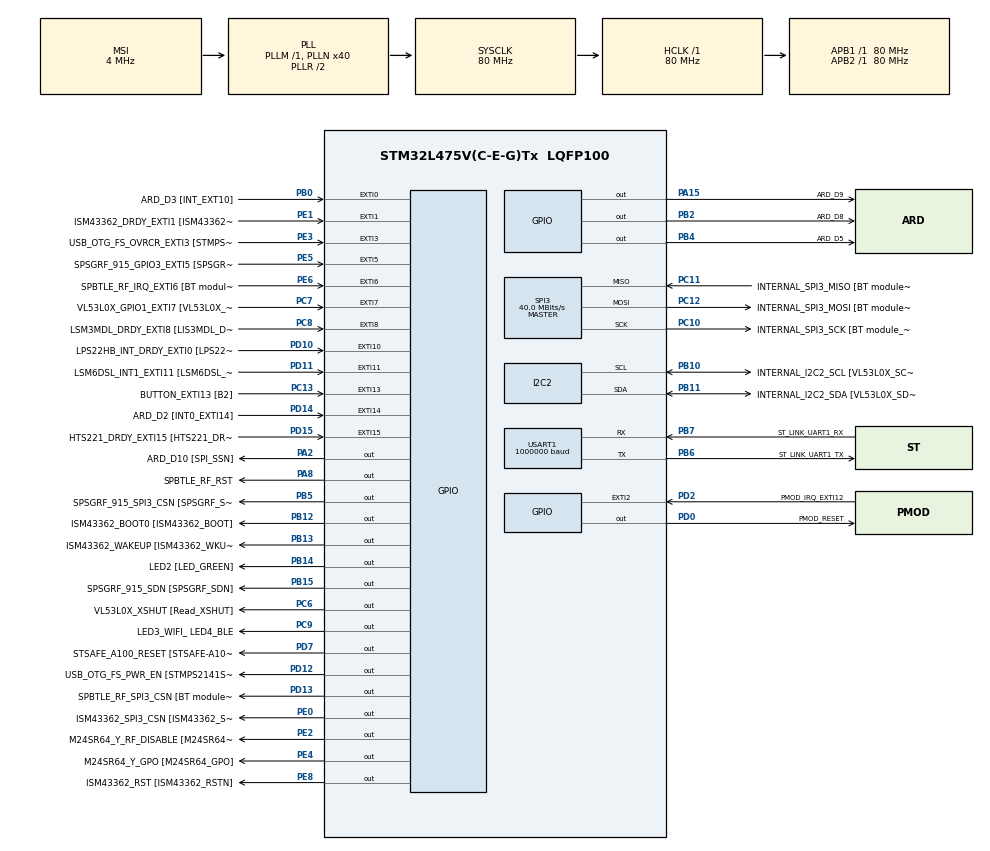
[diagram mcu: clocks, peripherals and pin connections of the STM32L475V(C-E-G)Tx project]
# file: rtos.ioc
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FREERTOS.Tasks01=sensorTask,40,512,StartSensorTask,Default,NULL,Dynamic,NULL,NULL;filterTask,32,512,StartFilterTask,Default,NULL,Dynamic,NULL,NULL;wifiTask,24,1024,StartWifiTask,Default,NULL,Dynamic,NULL,NULL
FREERTOS.Timers01=sampleTimer,SampleTimerCallback,osTimerPeriodic,Default,NULL,Dynamic,NULL
FREERTOS.configCHECK_FOR_STACK_OVERFLOW=2
FREERTOS.configTIMER_TASK_PRIORITY=48
FREERTOS.configTOTAL_HEAP_SIZE=32768
FREERTOS.configUSE_NEWLIB_REENTRANT=1
I2C2.Timing=0x10D19CE4
Mcu.Family=STM32L4
Mcu.Name=STM32L475V(C-E-G)Tx
Mcu.Package=LQFP100
NVIC.EXTI15_10_IRQn=true\:5\:0\:false\:false\:true\:true\:true\:true\:true
NVIC.EXTI9_5_IRQn=true\:5\:0\:false\:false\:true\:true\:true\:true\:true
NVIC.PriorityGroup=NVIC_PRIORITYGROUP_4
NVIC.TIM6_DAC_IRQn=true\:15\:0\:false\:false\:true\:false\:false\:true\:true
NVIC.TimeBase=TIM6_DAC_IRQn
NVIC.TimeBaseIP=TIM6
PA0.GPIO_Label=ARD_D1 [UART4_TX]
PA0.Signal=UART4_TX
PA1.GPIO_Label=ARD_D0 [UART4_RX]
PA1.Signal=UART4_RX
PA10.GPIO_Label=USB_OTG_FS_ID
PA10.Signal=USB_OTG_FS_ID
PA11.GPIO_Label=USB_OTG_FS_DM
PA11.Signal=USB_OTG_FS_DM
PA12.GPIO_Label=USB_OTG_FS_DP
PA12.Signal=USB_OTG_FS_DP
PA13\ (JTMS-SWDIO).GPIO_Label=SYS_JTMS_SWDIO
PA13\ (JTMS-SWDIO).Signal=SYS_JTMS-SWDIO
PA14\ (JTCK-SWCLK).GPIO_Label=SYS_JTCK_SWCLK
PA14\ (JTCK-SWCLK).Signal=SYS_JTCK-SWCLK
PA15\ (JTDI).GPIO_Label=ARD_D9
PA15\ (JTDI).Signal=GPIO_Output
PA2.GPIO_Label=ARD_D10 [SPI_SSN]
PA2.Signal=GPIO_Output
PA3.GPIO_Label=ARD_D4
PA3.Signal=S_TIM2_CH4
PA4.GPIO_Label=ARD_D7
PA4.Signal=ADCx_IN9
PA5.GPIO_Label=ARD_D13 [SPI1_SCK]
PA5.Signal=SPI1_SCK
PA6.GPIO_Label=ARD_D12 [SPI1_MISO]
PA6.Signal=SPI1_MISO
PA7.GPIO_Label=ARD_D11 [SPI1_MOSI]
PA7.Signal=SPI1_MOSI
PA8.GPIO_Label=SPBTLE_RF_RST
PA8.Signal=GPIO_Output
PA9.GPIO_Label=USB_OTG_FS_VBUS [STMPS2141STR_OUT]
PA9.Signal=USB_OTG_FS_VBUS
PB0.GPIO_Label=ARD_D3 [INT_EXT10]
PB0.Signal=GPXTI0
PB1.GPIO_Label=ARD_D6 [ADC1_IN6]
PB1.Signal=ADCx_IN16
PB10.GPIO_Label=INTERNAL_I2C2_SCL [VL53L0X_SCL]
PB10.Mode=I2C
PB10.Signal=I2C2_SCL
PB11.GPIO_Label=INTERNAL_I2C2_SDA [VL53L0X_SDA]
PB11.Mode=I2C
PB11.Signal=I2C2_SDA
PB12.GPIO_Label=ISM43362_BOOT0 [ISM43362_BOOT]
PB12.Signal=GPIO_Output
PB13.GPIO_Label=ISM43362_WAKEUP [ISM43362_WKUP]
PB13.Signal=GPIO_Output
PB14.GPIO_Label=LED2 [LED_GREEN]
PB14.Signal=GPIO_Output
PB15.GPIO_Label=SPSGRF_915_SDN [SPSGRF_SDN]
PB15.Signal=GPIO_Output
PB2.GPIO_Label=ARD_D8
PB2.Signal=GPIO_Output
PB3\ (JTDO-TRACESWO).GPIO_Label=SYS_JTD0_SWO
PB3\ (JTDO-TRACESWO).Signal=SYS_JTDO-SWO
PB4\ (NJTRST).GPIO_Label=ARD_D5
PB4\ (NJTRST).Signal=GPIO_Output
PB5.GPIO_Label=SPSGRF_915_SPI3_CSN [SPSGRF_SPI_CS]
PB5.PinState=GPIO_PIN_SET
PB5.Signal=GPIO_Output
PB6.GPIO_Label=ST_LINK_UART1_TX
PB6.Mode=Asynchronous
PB6.Signal=USART1_TX
PB7.GPIO_Label=ST_LINK_UART1_RX
PB7.Mode=Asynchronous
PB7.Signal=USART1_RX
PB8.GPIO_Label=ARD_D15 [I2C1_SCL]
PB8.Signal=I2C1_SCL
PB9.GPIO_Label=ARD_D14 [I2C1_SDA]
PB9.Signal=I2C1_SDA
PC0.GPIO_Label=ARD_A5 [ADC]
PC0.Signal=ADCx_IN1
PC1.GPIO_Label=ARD_A4 [ADC]
PC1.Signal=ADCx_IN2
PC10.GPIO_Label=INTERNAL_SPI3_SCK [BT module_SPI_SCLK] [ISM43362_SCK]
PC10.Mode=Full_Duplex_Master
PC10.Signal=SPI3_SCK
PC11.GPIO_Label=INTERNAL_SPI3_MISO [BT module_SPI_MISO] [ISM43362_MISO]
PC11.Mode=Full_Duplex_Master
PC11.Signal=SPI3_MISO
PC12.GPIO_Label=INTERNAL_SPI3_MOSI [BT module_SPI_MOSI] [ISM43362_MOSI]
PC12.Mode=Full_Duplex_Master
PC12.Signal=SPI3_MOSI
PC13.GPIO_Label=BUTTON_EXTI13 [B2]
PC13.GPIO_ModeDefaultEXTI=GPIO_MODE_IT_FALLING
PC13.Signal=GPXTI13
PC14-OSC32_IN\ (PC14).Signal=RCC_OSC32_IN
PC15-OSC32_OUT\ (PC15).Signal=RCC_OSC32_OUT
PC2.GPIO_Label=ARD_A3 [ADC]
PC2.Signal=ADCx_IN3
PC3.GPIO_Label=ARD_A2 [ADC]
PC3.Signal=ADCx_IN4
PC4.GPIO_Label=ARD_A1 [ADC]
PC4.Signal=ADCx_IN13
PC5.GPIO_Label=ARD_A0 [ADC]
PC5.Signal=ADCx_IN14
PC6.GPIO_Label=VL53L0X_XSHUT [Read_XSHUT]
PC6.Signal=GPIO_Output
PC7.GPIO_Label=VL53L0X_GPIO1_EXTI7 [VL53L0X_GPIO1]
PC7.Signal=GPXTI7
PC8.GPIO_Label=LSM3MDL_DRDY_EXTI8 [LIS3MDL_DRDY]
PC8.Signal=GPXTI8
PC9.GPIO_Label=LED3_WIFI_ LED4_BLE
PC9.Signal=GPIO_Output
PD0.GPIO_Label=PMOD_RESET
PD0.Signal=GPIO_Output
PD1.GPIO_Label=PMOD_SPI2_SCK
PD1.Signal=SPI2_SCK
PD10.GPIO_Label=LPS22HB_INT_DRDY_EXTI0 [LPS22HB_INT_DRDY] 
PD10.Signal=GPXTI10
PD11.GPIO_Label=LSM6DSL_INT1_EXTI11 [LSM6DSL_INT1]
PD11.Signal=GPXTI11
PD12.GPIO_Label=USB_OTG_FS_PWR_EN [STMPS2141STR_EN]
PD12.Signal=GPIO_Output
PD13.GPIO_Label=SPBTLE_RF_SPI3_CSN [BT module_SPI_CS]
PD13.PinState=GPIO_PIN_SET
PD13.Signal=GPIO_Output
PD14.GPIO_Label=ARD_D2 [INT0_EXTI14]
PD14.Signal=GPXTI14
PD15.GPIO_Label=HTS221_DRDY_EXTI15 [HTS221_DRDY]
PD15.Signal=GPXTI15
PD2.GPIO_Label=PMOD_IRQ_EXTI12
PD2.Signal=GPXTI2
PD3.GPIO_Label=PMOD_UART2_CTS
PD3.Signal=USART2_CTS
PD4.GPIO_Label=PMOD_UART2_RTS
PD4.Signal=USART2_RTS
PD5.GPIO_Label=PMOD_UART2_TX
PD5.Signal=USART2_TX
PD6.GPIO_Label=PMOD_UART2_RX
PD6.Signal=USART2_RX
PD7.GPIO_Label=STSAFE_A100_RESET [STSAFE-A100_RESET]
PD7.Signal=GPIO_Output
PD8.GPIO_Label=INTERNAL_UART3_TX [ISM43362_RX]
PD8.Signal=USART3_TX
PD9.GPIO_Label=INTERNAL_UART3_RX [ISM43362_TX]
PD9.Signal=USART3_RX
PE0.GPIO_Label=ISM43362_SPI3_CSN [ISM43362_SSN]
PE0.PinState=GPIO_PIN_SET
PE0.Signal=GPIO_Output
PE1.GPIO_Label=ISM43362_DRDY_EXTI1 [ISM43362_DATARDY]
PE1.Signal=GPXTI1
PE10.GPIO_Label=QUADSPI_CLK [MX25R6435F_SCLK]
PE10.Signal=QUADSPI_CLK
PE11.GPIO_Label=QUADSPI_NCS [MX25R6435F_SCLK]
PE11.Signal=QUADSPI_NCS
PE12.GPIO_Label=OQUADSPI_BK1_IO0 [MX25R6435F_IO0]
PE12.Signal=QUADSPI_BK1_IO0
PE13.GPIO_Label=QUADSPI_BK1_IO1 [MX25R6435F_IO1]
PE13.Signal=QUADSPI_BK1_IO1
PE14.GPIO_Label=QUAD_SPI_BK1_IO2 [MX25R6435F_IO2]
PE14.Signal=QUADSPI_BK1_IO2
PE15.GPIO_Label=QUAD_SPI_BK1_IO3 [MX25R6435F_IO3]
PE15.Signal=QUADSPI_BK1_IO3
PE2.GPIO_Label=M24SR64_Y_RF_DISABLE [M24SR64_RFDIS]
PE2.Signal=GPIO_Output
PE3.GPIO_Label=USB_OTG_FS_OVRCR_EXTI3 [STMPS2141STR_FAULT]
PE3.Signal=GPXTI3
PE4.GPIO_Label=M24SR64_Y_GPO [M24SR64_GPO]
PE4.Signal=GPIO_Output
PE5.GPIO_Label=SPSGRF_915_GPIO3_EXTI5 [SPSGRF_GPIO_3]
PE5.Signal=GPXTI5
PE6.GPIO_Label=SPBTLE_RF_IRQ_EXTI6 [BT module_SPI_IRQ]
PE6.Signal=GPXTI6
PE7.GPIO_Label=DFSDM1_DATIN2 [MP34DT01_DOUT]
PE7.Signal=S_DATAIN2DFSDM1
PE8.GPIO_Label=ISM43362_RST [ISM43362_RSTN]
PE8.Signal=GPIO_Output
PE9.GPIO_Label=DFSDM1_CKOUT [MP34DT01_CLK]
PE9.Signal=S_CKOUTDFSDM1
ProjectManager.HeapSize=0x200
ProjectManager.StackSize=0x400
ProjectManager.TargetToolchain=CMake
RCC.ADCFreq_Value=48000000
RCC.AHBFreq_Value=80000000
RCC.APB1Freq_Value=80000000
RCC.APB1TimFreq_Value=80000000
RCC.APB2Freq_Value=80000000
RCC.APB2TimFreq_Value=80000000
RCC.CortexFreq_Value=80000000
RCC.HCLKFreq_Value=80000000
RCC.HSE_VALUE=8000000
RCC.HSI_VALUE=16000000
RCC.LSE_VALUE=32768
RCC.MSI_VALUE=4000000
RCC.PLLN=40
RCC.PLLSAI1N=24
RCC.SYSCLKFreq_VALUE=80000000
RCC.SYSCLKSource=RCC_SYSCLKSOURCE_PLLCLK
RCC.USBFreq_Value=48000000
RCC.VCOOutputFreq_Value=160000000
SH.ADCx_IN1.0=ADC1_IN1
SH.ADCx_IN13.0=ADC1_IN13
SH.ADCx_IN14.0=ADC1_IN14
SH.ADCx_IN16.0=ADC1_IN16
SH.ADCx_IN2.0=ADC1_IN2
SH.ADCx_IN3.0=ADC1_IN3
SH.ADCx_IN4.0=ADC1_IN4
SH.ADCx_IN9.0=ADC1_IN9
SH.S_CKOUTDFSDM1.0=DFSDM1_CKOUT
SH.S_DATAIN2DFSDM1.0=DFSDM1_DATIN2
SH.S_TIM2_CH4.0=TIM2_CH4
SPI3.CalculateBaudRate=40.0 MBits/s
SPI3.Direction=SPI_DIRECTION_2LINES
SPI3.Mode=SPI_MODE_MASTER
SPI3.VirtualType=VM_MASTER
USART1.BaudRate=1000000
USART1.VirtualMode-Asynchronous=VM_ASYNC
VP_FREERTOS_VS_CMSIS_V2.Mode=CMSIS_V2
VP_SYS_VS_tim6.Mode=TIM6
board=B-L475E-IOT01A1

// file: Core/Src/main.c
/* USER CODE BEGIN Header */
/**
  ******************************************************************************
  * @file           : main.c
  * @brief          : Main program body
  ******************************************************************************
  * @attention
  *
  * Copyright (c) 2026 STMicroelectronics.
  * All rights reserved.
  *
  * This software is licensed under terms that can be found in the LICENSE file
  * in the root directory of this software component.
  * If no LICENSE file comes with this software, it is provided AS-IS.
  *
  ******************************************************************************
  */
/* USER CODE END Header */
#include "main.h"
#include "cmsis_os.h"

/* USER CODE BEGIN Includes */
#include "arm_math.h"
#include "stdio.h"
// #include "math_helper.h"
#include "stm32l475e_iot01_accelero.h"
#include "wifi.h"
#include <string.h>
/* USER CODE END Includes */

/* USER CODE BEGIN PD */
#define SSID     "xxx"
#define PASSWORD "xxx"

/* USER CODE END PD */

I2C_HandleTypeDef hi2c2;

SPI_HandleTypeDef hspi3;

UART_HandleTypeDef huart1;

/* Definitions for sensorTask */
osThreadId_t sensorTaskHandle;
const osThreadAttr_t sensorTask_attributes = {
  .name = "sensorTask",
  .stack_size = 512 * 4,
  .priority = (osPriority_t) osPriorityHigh,
};
/* Definitions for filterTask */
osThreadId_t filterTaskHandle;
const osThreadAttr_t filterTask_attributes = {
  .name = "filterTask",
  .stack_size = 512 * 4,
  .priority = (osPriority_t) osPriorityAboveNormal,
};
/* Definitions for wifiTask */
osThreadId_t wifiTaskHandle;
const osThreadAttr_t wifiTask_attributes = {
  .name = "wifiTask",
  .stack_size = 1024 * 4,
  .priority = (osPriority_t) osPriorityNormal,
};
/* Definitions for sampleTimer */
osTimerId_t sampleTimerHandle;
const osTimerAttr_t sampleTimer_attributes = {
  .name = "sampleTimer"
};
/* USER CODE BEGIN PV */
#define ACC_NUM_TAPS 29
const float32_t accCoeffs[ACC_NUM_TAPS] = {
  +0.0010663996f, +0.0021260857f, +0.0031593379f, +0.0030598462f, -0.0000000000f, -0.0070586601f, -0.0165185932f, -0.0232938560f,
  -0.0199795184f, +0.0000000000f, +0.0385745876f, +0.0905512328f, +0.1441009645f, +0.1844676144f, +0.1994891178f, +0.1844676144f,
  +0.1441009645f, +0.0905512328f, +0.0385745876f, +0.0000000000f, -0.0199795184f, -0.0232938560f, -0.0165185932f, -0.0070586601f,
  -0.0000000000f, +0.0030598462f, +0.0031593379f, +0.0021260857f, +0.0010663996f
};

#define ACC_BLOCK_SIZE 25
// a struct: start index n0, float32_t raw[25] and float32_t filt[25].
typedef struct {
  uint32_t n0;
  float32_t raw[ACC_BLOCK_SIZE];
  float32_t filt[ACC_BLOCK_SIZE];
} AccDataBlock;

// an arm_fir_instance_f32
arm_fir_instance_f32 accFilter;
static float32_t accState[ACC_BLOCK_SIZE + ACC_NUM_TAPS - 1];
static float32_t accIn[ACC_BLOCK_SIZE];
static float32_t accOut[ACC_BLOCK_SIZE];

volatile uint32_t sensorTickcounter = 0;
static uint32_t sampleCount = 0;
static uint32_t droppedSamples = 0;
static uint32_t droppedBlocks = 0;
static uint32_t k = 0;
static uint32_t n = 0;
static uint32_t sendError = 0;

osMessageQueueId_t rawZQueueHandle;
osMessageQueueId_t accDataQueueHandle;

static const uint8_t RemoteIP[] = {192,168,0,0};
static char buffer[1280];
/* USER CODE END PV */

void SystemClock_Config(void);
static void MX_GPIO_Init(void);
static void MX_I2C2_Init(void);
static void MX_USART1_UART_Init(void);
static void MX_SPI3_Init(void);
void StartSensorTask(void *argument);
void StartFilterTask(void *argument);
void StartWifiTask(void *argument);
void SampleTimerCallback(void *argument);

/* USER CODE BEGIN 0 */
int __io_putchar(int ch)
{
  HAL_UART_Transmit(&huart1, (uint8_t *)&ch, 1, HAL_MAX_DELAY);
  return ch;
}
/* USER CODE END 0 */

int main(void)
{

  /* MCU Configuration--------------------------------------------------------*/

  /* Reset of all peripherals, Initializes the Flash interface and the Systick. */
  HAL_Init();

  /* Configure the system clock */
  SystemClock_Config();

  /* Initialize all configured peripherals */
  MX_GPIO_Init();
  MX_I2C2_Init();
  MX_USART1_UART_Init();
  MX_SPI3_Init();
  /* USER CODE BEGIN 2 */
  BSP_ACCELERO_Init();
  arm_fir_init_f32(&accFilter, ACC_NUM_TAPS, (float32_t *)&accCoeffs[0], &accState[0], ACC_BLOCK_SIZE);
  /* USER CODE END 2 */

  /* Init scheduler */
  osKernelInitialize();

  /* Create the timer(s) */
  /* creation of sampleTimer */
  sampleTimerHandle = osTimerNew(SampleTimerCallback, osTimerPeriodic, NULL, &sampleTimer_attributes);

  /* USER CODE BEGIN RTOS_TIMERS */
  /* start timers, add new ones, ... */
  // period = 20ms, frequency = 50Hz

  /* USER CODE END RTOS_TIMERS */

  /* USER CODE BEGIN RTOS_QUEUES */
  /* add queues, ... */
  // 32 item, each item is one float32_t for raw z value
  rawZQueueHandle = osMessageQueueNew(32, sizeof(float32_t), NULL);
  // queue b, 4 item, each item is AccDataBlock
  accDataQueueHandle = osMessageQueueNew(4, sizeof(AccDataBlock), NULL);
  /* USER CODE END RTOS_QUEUES */

  /* Create the thread(s) */
  /* creation of sensorTask */
  sensorTaskHandle = osThreadNew(StartSensorTask, NULL, &sensorTask_attributes);

  /* creation of filterTask */
  filterTaskHandle = osThreadNew(StartFilterTask, NULL, &filterTask_attributes);

  /* creation of wifiTask */
  wifiTaskHandle = osThreadNew(StartWifiTask, NULL, &wifiTask_attributes);

  /* Start scheduler */
  osKernelStart();

  /* We should never get here as control is now taken by the scheduler */

  /* Infinite loop */
  while (1)
  {

  }
}

void SystemClock_Config(void)
{
  RCC_OscInitTypeDef RCC_OscInitStruct = {0};
  RCC_ClkInitTypeDef RCC_ClkInitStruct = {0};

  /** Configure the main internal regulator output voltage
  */
  if (HAL_PWREx_ControlVoltageScaling(PWR_REGULATOR_VOLTAGE_SCALE1) != HAL_OK)
  {
    Error_Handler();
  }

  /** Initializes the RCC Oscillators according to the specified parameters
  * in the RCC_OscInitTypeDef structure.
  */
  RCC_OscInitStruct.OscillatorType = RCC_OSCILLATORTYPE_MSI;
  RCC_OscInitStruct.MSIState = RCC_MSI_ON;
  RCC_OscInitStruct.MSICalibrationValue = 0;
  RCC_OscInitStruct.MSIClockRange = RCC_MSIRANGE_6;
  RCC_OscInitStruct.PLL.PLLState = RCC_PLL_ON;
  RCC_OscInitStruct.PLL.PLLSource = RCC_PLLSOURCE_MSI;
  RCC_OscInitStruct.PLL.PLLM = 1;
  RCC_OscInitStruct.PLL.PLLN = 40;
  RCC_OscInitStruct.PLL.PLLP = RCC_PLLP_DIV7;
  RCC_OscInitStruct.PLL.PLLQ = RCC_PLLQ_DIV2;
  RCC_OscInitStruct.PLL.PLLR = RCC_PLLR_DIV2;
  if (HAL_RCC_OscConfig(&RCC_OscInitStruct) != HAL_OK)
  {
    Error_Handler();
  }

  /** Initializes the CPU, AHB and APB buses clocks
  */
  RCC_ClkInitStruct.ClockType = RCC_CLOCKTYPE_HCLK|RCC_CLOCKTYPE_SYSCLK
                              |RCC_CLOCKTYPE_PCLK1|RCC_CLOCKTYPE_PCLK2;
  RCC_ClkInitStruct.SYSCLKSource = RCC_SYSCLKSOURCE_PLLCLK;
  RCC_ClkInitStruct.AHBCLKDivider = RCC_SYSCLK_DIV1;
  RCC_ClkInitStruct.APB1CLKDivider = RCC_HCLK_DIV1;
  RCC_ClkInitStruct.APB2CLKDivider = RCC_HCLK_DIV1;

  if (HAL_RCC_ClockConfig(&RCC_ClkInitStruct, FLASH_LATENCY_4) != HAL_OK)
  {
    Error_Handler();
  }
}

static void MX_I2C2_Init(void)
{

  hi2c2.Instance = I2C2;
  hi2c2.Init.Timing = 0x10D19CE4;
  hi2c2.Init.OwnAddress1 = 0;
  hi2c2.Init.AddressingMode = I2C_ADDRESSINGMODE_7BIT;
  hi2c2.Init.DualAddressMode = I2C_DUALADDRESS_DISABLE;
  hi2c2.Init.OwnAddress2 = 0;
  hi2c2.Init.OwnAddress2Masks = I2C_OA2_NOMASK;
  hi2c2.Init.GeneralCallMode = I2C_GENERALCALL_DISABLE;
  hi2c2.Init.NoStretchMode = I2C_NOSTRETCH_DISABLE;
  if (HAL_I2C_Init(&hi2c2) != HAL_OK)
  {
    Error_Handler();
  }

  /** Configure Analogue filter
  */
  if (HAL_I2CEx_ConfigAnalogFilter(&hi2c2, I2C_ANALOGFILTER_ENABLE) != HAL_OK)
  {
    Error_Handler();
  }

  /** Configure Digital filter
  */
  if (HAL_I2CEx_ConfigDigitalFilter(&hi2c2, 0) != HAL_OK)
  {
    Error_Handler();
  }

}

static void MX_SPI3_Init(void)
{

  /* SPI3 parameter configuration*/
  hspi3.Instance = SPI3;
  hspi3.Init.Mode = SPI_MODE_MASTER;
  hspi3.Init.Direction = SPI_DIRECTION_2LINES;
  hspi3.Init.DataSize = SPI_DATASIZE_4BIT;
  hspi3.Init.CLKPolarity = SPI_POLARITY_LOW;
  hspi3.Init.CLKPhase = SPI_PHASE_1EDGE;
  hspi3.Init.NSS = SPI_NSS_SOFT;
  hspi3.Init.BaudRatePrescaler = SPI_BAUDRATEPRESCALER_2;
  hspi3.Init.FirstBit = SPI_FIRSTBIT_MSB;
  hspi3.Init.TIMode = SPI_TIMODE_DISABLE;
  hspi3.Init.CRCCalculation = SPI_CRCCALCULATION_DISABLE;
  hspi3.Init.CRCPolynomial = 7;
  hspi3.Init.CRCLength = SPI_CRC_LENGTH_DATASIZE;
  hspi3.Init.NSSPMode = SPI_NSS_PULSE_ENABLE;
  if (HAL_SPI_Init(&hspi3) != HAL_OK)
  {
    Error_Handler();
  }

}

static void MX_USART1_UART_Init(void)
{

  huart1.Instance = USART1;
  huart1.Init.BaudRate = 1000000;
  huart1.Init.WordLength = UART_WORDLENGTH_8B;
  huart1.Init.StopBits = UART_STOPBITS_1;
  huart1.Init.Parity = UART_PARITY_NONE;
  huart1.Init.Mode = UART_MODE_TX_RX;
  huart1.Init.HwFlowCtl = UART_HWCONTROL_NONE;
  huart1.Init.OverSampling = UART_OVERSAMPLING_16;
  huart1.Init.OneBitSampling = UART_ONE_BIT_SAMPLE_DISABLE;
  huart1.AdvancedInit.AdvFeatureInit = UART_ADVFEATURE_NO_INIT;
  if (HAL_UART_Init(&huart1) != HAL_OK)
  {
    Error_Handler();
  }

}

static void MX_GPIO_Init(void)
{
  GPIO_InitTypeDef GPIO_InitStruct = {0};

  /* GPIO Ports Clock Enable */
  __HAL_RCC_GPIOE_CLK_ENABLE();
  __HAL_RCC_GPIOC_CLK_ENABLE();
  __HAL_RCC_GPIOA_CLK_ENABLE();
  __HAL_RCC_GPIOB_CLK_ENABLE();
  __HAL_RCC_GPIOD_CLK_ENABLE();

  /*Configure GPIO pin Output Level */
  HAL_GPIO_WritePin(GPIOE, M24SR64_Y_RF_DISABLE_Pin|M24SR64_Y_GPO_Pin|ISM43362_RST_Pin, GPIO_PIN_RESET);

  /*Configure GPIO pin Output Level */
  HAL_GPIO_WritePin(GPIOA, ARD_D10_Pin|SPBTLE_RF_RST_Pin|ARD_D9_Pin, GPIO_PIN_RESET);

  /*Configure GPIO pin Output Level */
  HAL_GPIO_WritePin(GPIOB, ARD_D8_Pin|ISM43362_BOOT0_Pin|ISM43362_WAKEUP_Pin|LED2_Pin
                          |SPSGRF_915_SDN_Pin|ARD_D5_Pin, GPIO_PIN_RESET);

  /*Configure GPIO pin Output Level */
  HAL_GPIO_WritePin(GPIOD, USB_OTG_FS_PWR_EN_Pin|PMOD_RESET_Pin|STSAFE_A100_RESET_Pin, GPIO_PIN_RESET);

  /*Configure GPIO pin Output Level */
  HAL_GPIO_WritePin(SPBTLE_RF_SPI3_CSN_GPIO_Port, SPBTLE_RF_SPI3_CSN_Pin, GPIO_PIN_SET);

  /*Configure GPIO pin Output Level */
  HAL_GPIO_WritePin(GPIOC, VL53L0X_XSHUT_Pin|LED3_WIFI__LED4_BLE_Pin, GPIO_PIN_RESET);

  /*Configure GPIO pin Output Level */
  HAL_GPIO_WritePin(SPSGRF_915_SPI3_CSN_GPIO_Port, SPSGRF_915_SPI3_CSN_Pin, GPIO_PIN_SET);

  /*Configure GPIO pin Output Level */
  HAL_GPIO_WritePin(ISM43362_SPI3_CSN_GPIO_Port, ISM43362_SPI3_CSN_Pin, GPIO_PIN_SET);

  /*Configure GPIO pins : M24SR64_Y_RF_DISABLE_Pin M24SR64_Y_GPO_Pin ISM43362_RST_Pin ISM43362_SPI3_CSN_Pin */
  GPIO_InitStruct.Pin = M24SR64_Y_RF_DISABLE_Pin|M24SR64_Y_GPO_Pin|ISM43362_RST_Pin|ISM43362_SPI3_CSN_Pin;
  GPIO_InitStruct.Mode = GPIO_MODE_OUTPUT_PP;
  GPIO_InitStruct.Pull = GPIO_NOPULL;
  GPIO_InitStruct.Speed = GPIO_SPEED_FREQ_LOW;
  HAL_GPIO_Init(GPIOE, &GPIO_InitStruct);

  /*Configure GPIO pins : USB_OTG_FS_OVRCR_EXTI3_Pin SPSGRF_915_GPIO3_EXTI5_Pin SPBTLE_RF_IRQ_EXTI6_Pin ISM43362_DRDY_EXTI1_Pin */
  GPIO_InitStruct.Pin = USB_OTG_FS_OVRCR_EXTI3_Pin|SPSGRF_915_GPIO3_EXTI5_Pin|SPBTLE_RF_IRQ_EXTI6_Pin|ISM43362_DRDY_EXTI1_Pin;
  GPIO_InitStruct.Mode = GPIO_MODE_IT_RISING;
  GPIO_InitStruct.Pull = GPIO_NOPULL;
  HAL_GPIO_Init(GPIOE, &GPIO_InitStruct);

  /*Configure GPIO pin : BUTTON_EXTI13_Pin */
  GPIO_InitStruct.Pin = BUTTON_EXTI13_Pin;
  GPIO_InitStruct.Mode = GPIO_MODE_IT_FALLING;
  GPIO_InitStruct.Pull = GPIO_NOPULL;
  HAL_GPIO_Init(BUTTON_EXTI13_GPIO_Port, &GPIO_InitStruct);

  /*Configure GPIO pins : ARD_A5_Pin ARD_A4_Pin ARD_A3_Pin ARD_A2_Pin
                           ARD_A1_Pin ARD_A0_Pin */
  GPIO_InitStruct.Pin = ARD_A5_Pin|ARD_A4_Pin|ARD_A3_Pin|ARD_A2_Pin
                          |ARD_A1_Pin|ARD_A0_Pin;
  GPIO_InitStruct.Mode = GPIO_MODE_ANALOG_ADC_CONTROL;
  GPIO_InitStruct.Pull = GPIO_NOPULL;
  HAL_GPIO_Init(GPIOC, &GPIO_InitStruct);

  /*Configure GPIO pins : ARD_D1_Pin ARD_D0_Pin */
  GPIO_InitStruct.Pin = ARD_D1_Pin|ARD_D0_Pin;
  GPIO_InitStruct.Mode = GPIO_MODE_AF_PP;
  GPIO_InitStruct.Pull = GPIO_NOPULL;
  GPIO_InitStruct.Speed = GPIO_SPEED_FREQ_VERY_HIGH;
  GPIO_InitStruct.Alternate = GPIO_AF8_UART4;
  HAL_GPIO_Init(GPIOA, &GPIO_InitStruct);

  /*Configure GPIO pins : ARD_D10_Pin SPBTLE_RF_RST_Pin ARD_D9_Pin */
  GPIO_InitStruct.Pin = ARD_D10_Pin|SPBTLE_RF_RST_Pin|ARD_D9_Pin;
  GPIO_InitStruct.Mode = GPIO_MODE_OUTPUT_PP;
  GPIO_InitStruct.Pull = GPIO_NOPULL;
  GPIO_InitStruct.Speed = GPIO_SPEED_FREQ_LOW;
  HAL_GPIO_Init(GPIOA, &GPIO_InitStruct);

  /*Configure GPIO pin : ARD_D4_Pin */
  GPIO_InitStruct.Pin = ARD_D4_Pin;
  GPIO_InitStruct.Mode = GPIO_MODE_AF_PP;
  GPIO_InitStruct.Pull = GPIO_NOPULL;
  GPIO_InitStruct.Speed = GPIO_SPEED_FREQ_LOW;
  GPIO_InitStruct.Alternate = GPIO_AF1_TIM2;
  HAL_GPIO_Init(ARD_D4_GPIO_Port, &GPIO_InitStruct);

  /*Configure GPIO pin : ARD_D7_Pin */
  GPIO_InitStruct.Pin = ARD_D7_Pin;
  GPIO_InitStruct.Mode = GPIO_MODE_ANALOG_ADC_CONTROL;
  GPIO_InitStruct.Pull = GPIO_NOPULL;
  HAL_GPIO_Init(ARD_D7_GPIO_Port, &GPIO_InitStruct);

  /*Configure GPIO pins : ARD_D13_Pin ARD_D12_Pin ARD_D11_Pin */
  GPIO_InitStruct.Pin = ARD_D13_Pin|ARD_D12_Pin|ARD_D11_Pin;
  GPIO_InitStruct.Mode = GPIO_MODE_AF_PP;
  GPIO_InitStruct.Pull = GPIO_NOPULL;
  GPIO_InitStruct.Speed = GPIO_SPEED_FREQ_VERY_HIGH;
  GPIO_InitStruct.Alternate = GPIO_AF5_SPI1;
  HAL_GPIO_Init(GPIOA, &GPIO_InitStruct);

  /*Configure GPIO pin : ARD_D3_Pin */
  GPIO_InitStruct.Pin = ARD_D3_Pin;
  GPIO_InitStruct.Mode = GPIO_MODE_IT_RISING;
  GPIO_InitStruct.Pull = GPIO_NOPULL;
  HAL_GPIO_Init(ARD_D3_GPIO_Port, &GPIO_InitStruct);

  /*Configure GPIO pin : ARD_D6_Pin */
  GPIO_InitStruct.Pin = ARD_D6_Pin;
  GPIO_InitStruct.Mode = GPIO_MODE_ANALOG_ADC_CONTROL;
  GPIO_InitStruct.Pull = GPIO_NOPULL;
  HAL_GPIO_Init(ARD_D6_GPIO_Port, &GPIO_InitStruct);

  /*Configure GPIO pins : ARD_D8_Pin ISM43362_BOOT0_Pin ISM43362_WAKEUP_Pin LED2_Pin
                           SPSGRF_915_SDN_Pin ARD_D5_Pin SPSGRF_915_SPI3_CSN_Pin */
  GPIO_InitStruct.Pin = ARD_D8_Pin|ISM43362_BOOT0_Pin|ISM43362_WAKEUP_Pin|LED2_Pin
                          |SPSGRF_915_SDN_Pin|ARD_D5_Pin|SPSGRF_915_SPI3_CSN_Pin;
  GPIO_InitStruct.Mode = GPIO_MODE_OUTPUT_PP;
  GPIO_InitStruct.Pull = GPIO_NOPULL;
  GPIO_InitStruct.Speed = GPIO_SPEED_FREQ_LOW;
  HAL_GPIO_Init(GPIOB, &GPIO_InitStruct);

  /*Configure GPIO pins : DFSDM1_DATIN2_Pin DFSDM1_CKOUT_Pin */
  GPIO_InitStruct.Pin = DFSDM1_DATIN2_Pin|DFSDM1_CKOUT_Pin;
  GPIO_InitStruct.Mode = GPIO_MODE_AF_PP;
  GPIO_InitStruct.Pull = GPIO_NOPULL;
  GPIO_InitStruct.Speed = GPIO_SPEED_FREQ_LOW;
  GPIO_InitStruct.Alternate = GPIO_AF6_DFSDM1;
  HAL_GPIO_Init(GPIOE, &GPIO_InitStruct);

  /*Configure GPIO pins : QUADSPI_CLK_Pin QUADSPI_NCS_Pin OQUADSPI_BK1_IO0_Pin QUADSPI_BK1_IO1_Pin
                           QUAD_SPI_BK1_IO2_Pin QUAD_SPI_BK1_IO3_Pin */
  GPIO_InitStruct.Pin = QUADSPI_CLK_Pin|QUADSPI_NCS_Pin|OQUADSPI_BK1_IO0_Pin|QUADSPI_BK1_IO1_Pin
                          |QUAD_SPI_BK1_IO2_Pin|QUAD_SPI_BK1_IO3_Pin;
  GPIO_InitStruct.Mode = GPIO_MODE_AF_PP;
  GPIO_InitStruct.Pull = GPIO_NOPULL;
  GPIO_InitStruct.Speed = GPIO_SPEED_FREQ_VERY_HIGH;
  GPIO_InitStruct.Alternate = GPIO_AF10_QUADSPI;
  HAL_GPIO_Init(GPIOE, &GPIO_InitStruct);

  /*Configure GPIO pins : INTERNAL_UART3_TX_Pin INTERNAL_UART3_RX_Pin */
  GPIO_InitStruct.Pin = INTERNAL_UART3_TX_Pin|INTERNAL_UART3_RX_Pin;
  GPIO_InitStruct.Mode = GPIO_MODE_AF_PP;
  GPIO_InitStruct.Pull = GPIO_NOPULL;
  GPIO_InitStruct.Speed = GPIO_SPEED_FREQ_VERY_HIGH;
  GPIO_InitStruct.Alternate = GPIO_AF7_USART3;
  HAL_GPIO_Init(GPIOD, &GPIO_InitStruct);

  /*Configure GPIO pins : LPS22HB_INT_DRDY_EXTI0_Pin LSM6DSL_INT1_EXTI11_Pin ARD_D2_Pin HTS221_DRDY_EXTI15_Pin
                           PMOD_IRQ_EXTI12_Pin */
  GPIO_InitStruct.Pin = LPS22HB_INT_DRDY_EXTI0_Pin|LSM6DSL_INT1_EXTI11_Pin|ARD_D2_Pin|HTS221_DRDY_EXTI15_Pin
                          |PMOD_IRQ_EXTI12_Pin;
  GPIO_InitStruct.Mode = GPIO_MODE_IT_RISING;
  GPIO_InitStruct.Pull = GPIO_NOPULL;
  HAL_GPIO_Init(GPIOD, &GPIO_InitStruct);

  /*Configure GPIO pins : USB_OTG_FS_PWR_EN_Pin SPBTLE_RF_SPI3_CSN_Pin PMOD_RESET_Pin STSAFE_A100_RESET_Pin */
  GPIO_InitStruct.Pin = USB_OTG_FS_PWR_EN_Pin|SPBTLE_RF_SPI3_CSN_Pin|PMOD_RESET_Pin|STSAFE_A100_RESET_Pin;
  GPIO_InitStruct.Mode = GPIO_MODE_OUTPUT_PP;
  GPIO_InitStruct.Pull = GPIO_NOPULL;
  GPIO_InitStruct.Speed = GPIO_SPEED_FREQ_LOW;
  HAL_GPIO_Init(GPIOD, &GPIO_InitStruct);

  /*Configure GPIO pins : VL53L0X_XSHUT_Pin LED3_WIFI__LED4_BLE_Pin */
  GPIO_InitStruct.Pin = VL53L0X_XSHUT_Pin|LED3_WIFI__LED4_BLE_Pin;
  GPIO_InitStruct.Mode = GPIO_MODE_OUTPUT_PP;
  GPIO_InitStruct.Pull = GPIO_NOPULL;
  GPIO_InitStruct.Speed = GPIO_SPEED_FREQ_LOW;
  HAL_GPIO_Init(GPIOC, &GPIO_InitStruct);

  /*Configure GPIO pins : VL53L0X_GPIO1_EXTI7_Pin LSM3MDL_DRDY_EXTI8_Pin */
  GPIO_InitStruct.Pin = VL53L0X_GPIO1_EXTI7_Pin|LSM3MDL_DRDY_EXTI8_Pin;
  GPIO_InitStruct.Mode = GPIO_MODE_IT_RISING;
  GPIO_InitStruct.Pull = GPIO_NOPULL;
  HAL_GPIO_Init(GPIOC, &GPIO_InitStruct);

  /*Configure GPIO pin : USB_OTG_FS_VBUS_Pin */
  GPIO_InitStruct.Pin = USB_OTG_FS_VBUS_Pin;
  GPIO_InitStruct.Mode = GPIO_MODE_INPUT;
  GPIO_InitStruct.Pull = GPIO_NOPULL;
  HAL_GPIO_Init(USB_OTG_FS_VBUS_GPIO_Port, &GPIO_InitStruct);

  /*Configure GPIO pins : USB_OTG_FS_ID_Pin USB_OTG_FS_DM_Pin USB_OTG_FS_DP_Pin */
  GPIO_InitStruct.Pin = USB_OTG_FS_ID_Pin|USB_OTG_FS_DM_Pin|USB_OTG_FS_DP_Pin;
  GPIO_InitStruct.Mode = GPIO_MODE_AF_PP;
  GPIO_InitStruct.Pull = GPIO_NOPULL;
  GPIO_InitStruct.Speed = GPIO_SPEED_FREQ_VERY_HIGH;
  GPIO_InitStruct.Alternate = GPIO_AF10_OTG_FS;
  HAL_GPIO_Init(GPIOA, &GPIO_InitStruct);

  /*Configure GPIO pin : PMOD_SPI2_SCK_Pin */
  GPIO_InitStruct.Pin = PMOD_SPI2_SCK_Pin;
  GPIO_InitStruct.Mode = GPIO_MODE_AF_PP;
  GPIO_InitStruct.Pull = GPIO_NOPULL;
  GPIO_InitStruct.Speed = GPIO_SPEED_FREQ_VERY_HIGH;
  GPIO_InitStruct.Alternate = GPIO_AF5_SPI2;
  HAL_GPIO_Init(PMOD_SPI2_SCK_GPIO_Port, &GPIO_InitStruct);

  /*Configure GPIO pins : PMOD_UART2_CTS_Pin PMOD_UART2_RTS_Pin PMOD_UART2_TX_Pin PMOD_UART2_RX_Pin */
  GPIO_InitStruct.Pin = PMOD_UART2_CTS_Pin|PMOD_UART2_RTS_Pin|PMOD_UART2_TX_Pin|PMOD_UART2_RX_Pin;
  GPIO_InitStruct.Mode = GPIO_MODE_AF_PP;
  GPIO_InitStruct.Pull = GPIO_NOPULL;
  GPIO_InitStruct.Speed = GPIO_SPEED_FREQ_VERY_HIGH;
  GPIO_InitStruct.Alternate = GPIO_AF7_USART2;
  HAL_GPIO_Init(GPIOD, &GPIO_InitStruct);

  /*Configure GPIO pins : ARD_D15_Pin ARD_D14_Pin */
  GPIO_InitStruct.Pin = ARD_D15_Pin|ARD_D14_Pin;
  GPIO_InitStruct.Mode = GPIO_MODE_AF_OD;
  GPIO_InitStruct.Pull = GPIO_NOPULL;
  GPIO_InitStruct.Speed = GPIO_SPEED_FREQ_VERY_HIGH;
  GPIO_InitStruct.Alternate = GPIO_AF4_I2C1;
  HAL_GPIO_Init(GPIOB, &GPIO_InitStruct);

  /* EXTI interrupt init*/
  HAL_NVIC_SetPriority(EXTI9_5_IRQn, 5, 0);
  HAL_NVIC_EnableIRQ(EXTI9_5_IRQn);

  HAL_NVIC_SetPriority(EXTI15_10_IRQn, 5, 0);
  HAL_NVIC_EnableIRQ(EXTI15_10_IRQn);

}

/* USER CODE BEGIN 4 */
// hal_gpio_exti_callback
void HAL_GPIO_EXTI_Callback(uint16_t GPIO_Pin)
{
  // gpio pin 1
  if (GPIO_Pin == GPIO_PIN_1) {
    // spi wifi isr
    SPI_WIFI_ISR();
  }

}

/* USER CODE END 4 */

void StartSensorTask(void *argument)
{
  /* USER CODE BEGIN 5 */
  /* Infinite loop */
  for(;;)
  {
    // wait for thread flag 0x01
    osThreadFlagsWait(0x01, osFlagsWaitAny, osWaitForever);
    // read accelerometer xyz data
    int16_t xyz[3];
    BSP_ACCELERO_AccGetXYZ(xyz);
    //count the samples
    sampleCount++;
    // put each z value into the rawZQueueHandle
    // return not ok, dropped sample++
    float32_t zValue = (float32_t)xyz[2];
    if (osMessageQueuePut(rawZQueueHandle, &zValue, 0, 0) != osOK) {
      droppedSamples++;
    }

    // print sample count, callback tick counter, latest z value and elapsed time in ms since last print every 50 samples
    // if (sampleCount % 50 == 0) {
    //   static uint32_t lastPrintTick = 0;
    //   uint32_t currentTick = HAL_GetTick();
    //   uint32_t elapsedTime = currentTick - lastPrintTick;
    //   lastPrintTick = currentTick;
    //   printf("Sample Count: %lu, Sensor Tick Counter: %lu, Z Value: %d, Elapsed Time: %lu ms\n", sampleCount, sensorTickcounter, xyz[2], elapsedTime);
    // }
  }
  /* USER CODE END 5 */
}

void StartFilterTask(void *argument)
{
  /* USER CODE BEGIN StartFilterTask */
  printf("BEGIN ACC\n");
  /* Infinite loop */
  for(;;)
  {

    // get the latest z value from the rawZQueueHandle, store in accIn[k++]

    osMessageQueueGet(rawZQueueHandle, &accIn[k], NULL, osWaitForever);
    if (k == ACC_BLOCK_SIZE - 1) {
      // apply FIR filter to accIn, store in accOut
      arm_fir_f32(&accFilter, accIn, accOut, ACC_BLOCK_SIZE);
      //  fill a local block: n0 = n, then memcpy from accIn and accOut
      AccDataBlock block;
      block.n0 = n;
      memcpy(block.raw, accIn, ACC_BLOCK_SIZE * sizeof(float32_t));
      memcpy(block.filt, accOut, ACC_BLOCK_SIZE * sizeof(float32_t));

      // put the block into the accDataQueueHandle
      if (osMessageQueuePut(accDataQueueHandle, &block, 0, 0) != osOK) {
        printf("Failed to put block into queue\n");
        droppedBlocks++;
      }
      // print the filtered z values
      /*
      for (int i = 0; i < ACC_BLOCK_SIZE; i++) {
        printf("%lu,%f,%f\n", n++, accIn[i], accOut[i]);
      }
      */
      n += ACC_BLOCK_SIZE;
      // print the number of dropped samples each 500 samples in skipped line, no change csv format
      if (n % 500 == 0) {
        // printf("# Dropped Samples: %lu\n", droppedSamples);
      }
      k = 0;
    } else {
      k++;
    }

    // osDelay(1000);
  }
  /* USER CODE END StartFilterTask */
}

void StartWifiTask(void *argument)
{
  /* USER CODE BEGIN StartWifiTask */
  // wifi init, check ok or not
  printf("BEGIN WIFI\n");
  if (WIFI_Init() != WIFI_STATUS_OK) {
    printf("WIFI_Init failed\n");
    // Error_Handler();
    goto wifi_error;
  }
  printf("WIFI_Init OK\n");
  // wifi connect
  printf("Connecting to SSID: %s\n", SSID);
  if (WIFI_Connect(SSID, PASSWORD, WIFI_ECN_WPA2_PSK) != WIFI_STATUS_OK) {
    printf("WIFI_Connect failed\n");
    // Error_Handler();
    goto wifi_error;
  }
  printf("WIFI_Connect OK\n");
  // wifi connection
  printf("Opening TCP client connection to %d.%d.%d.%d:8002\n", RemoteIP[0], RemoteIP[1], RemoteIP[2], RemoteIP[3]);
  if (WIFI_OpenClientConnection(0, WIFI_TCP_PROTOCOL, "TCP_CLIENT", RemoteIP, 8002, 0) != WIFI_STATUS_OK) {
    printf("WIFI_OpenClientConnection failed\n");
    // Error_Handler();
    goto wifi_error;
  }
  printf("WIFI_OpenClientConnection OK\n");
  // send data
  printf("Sending data...\n");
  uint16_t sent = 0;
  const char *message = "# Hello from STM32L475E-IOT01\n";
  if (WIFI_SendData(0, (const uint8_t*)message, strlen(message), &sent, 1000) != WIFI_STATUS_OK) {
    printf("WIFI_SendData failed\n");
    // Error_Handler();
    goto wifi_error;
  }
  printf("WIFI_SendData OK, sent %d bytes\n", sent);
  osTimerStart(sampleTimerHandle, 20);
  /* Infinite loop */
  for(;;)
  {
    // a local AccDataBlock block;
    // droppedBlock++ if osMessageQueuePut or osMessageQueueGet fails

    AccDataBlock local_block;
    if (osMessageQueueGet(accDataQueueHandle, &local_block, NULL, osWaitForever) != osOK) {
      printf("Failed to get block from queue\n");
      droppedBlocks++;
      continue;
    }

    // Format the 25 lines "%lu,%f,%f\n" into one buffer, appending with snprintf and adding up the length.

    size_t len = 0;
    for (int i = 0; i < ACC_BLOCK_SIZE; i++) {
      len += snprintf(buffer + len, sizeof(buffer) - len, "%lu,%f,%f\n", local_block.n0 + i, local_block.raw[i], local_block.filt[i]);
    }
    // One WIFI_SendData per block.
    if (WIFI_SendData(0, (const uint8_t*)buffer, len, &sent, 1000) != WIFI_STATUS_OK) {
      printf("WIFI_SendData failed\n");
      // Error_Handler();
      // goto wifi_error;

      sendError++;
      printf("Send error count: %lu\n", sendError);
    } else {
      // sent == len check
      if (sent != len) {
        printf("WIFI_SendData sent %d bytes, expected %u bytes\n", sent, (unsigned int)len);
        sendError++;
        printf("Send error count: %lu\n", sendError);
      }
    }

    // Every 20 blocks (10 s), also add a line # dropped=<samples> blocks=<blocks> to the buffer. The receiver prints it.
    if (local_block.n0 % (ACC_BLOCK_SIZE * 20) == 0) {
      //blocks = number of dropped blocks
      len = snprintf(buffer, sizeof(buffer), "# dropped=%lu blocks=%lu\n", droppedSamples, droppedBlocks);

      if (WIFI_SendData(0, (const uint8_t*)buffer, len, &sent, 1000) != WIFI_STATUS_OK) {
        printf("WIFI_SendData failed\n");
        // Error_Handler();
        sendError++;
        printf("Send error count: %lu\n", sendError);
      }else {
      // sent == len check
      if (sent != len) {
        printf("WIFI_SendData sent %d bytes, expected %u bytes\n", sent, (unsigned int)len);
        sendError++;
        printf("Send error count: %lu\n", sendError);
      }
    }
    }
    // osDelay(1000);
  }
  // another infinite idle loop
  wifi_error:
  for(;;)
  {
    osDelay(1000);
  }
  /* USER CODE END StartWifiTask */
}

/* SampleTimerCallback function */
void SampleTimerCallback(void *argument)
{
  /* USER CODE BEGIN SampleTimerCallback */
  // set thread flag 0x01 on senesorTaskHandle
  osThreadFlagsSet(sensorTaskHandle, 0x01);
  // increment sensorTickcounter
  sensorTickcounter++;
  /* USER CODE END SampleTimerCallback */
}

void HAL_TIM_PeriodElapsedCallback(TIM_HandleTypeDef *htim)
{
  if (htim->Instance == TIM6)
  {
    HAL_IncTick();
  }
}

void Error_Handler(void)
{
  __disable_irq();
  while (1)
  {
  }
}
